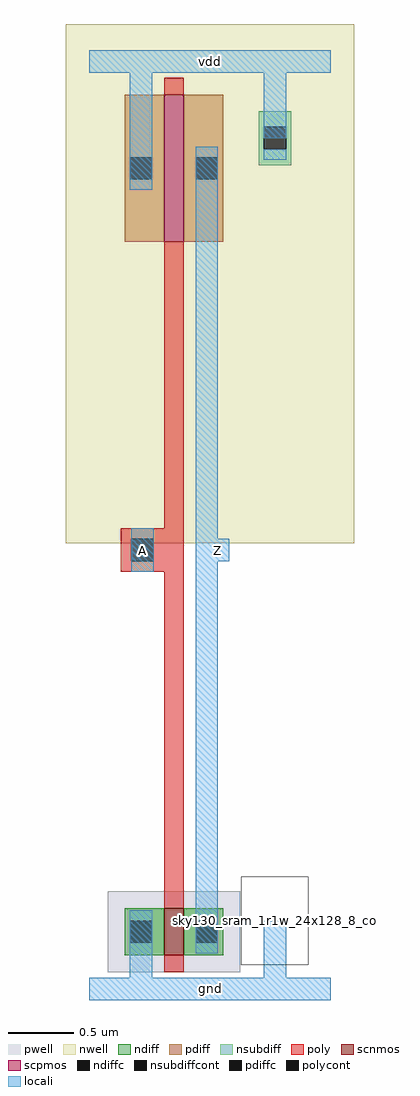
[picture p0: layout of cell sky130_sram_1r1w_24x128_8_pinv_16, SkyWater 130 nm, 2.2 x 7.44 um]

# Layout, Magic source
magic
tech sky130B
magscale 1 2
<< nwell >>
rect -36 679 404 1471
<< poly >>
rect 114 702 144 1113
rect 81 636 144 702
rect 114 149 144 636
<< locali >>
rect 0 1397 368 1431
rect 62 1218 96 1397
rect 266 1297 300 1397
rect 64 636 98 702
rect 162 686 196 1284
rect 162 652 213 686
rect 162 54 196 652
rect 62 17 96 54
rect 266 17 300 104
rect 0 -17 368 17
use sky130_sram_1r1w_24x128_8_contact_15  sky130_sram_1r1w_24x128_8_contact_15_0
transform 1 0 48 0 1 636
box 0 0 66 66
use sky130_sram_1r1w_24x128_8_contact_28  sky130_sram_1r1w_24x128_8_contact_28_0
transform 1 0 258 0 1 1256
box -59 -43 109 125
use sky130_sram_1r1w_24x128_8_contact_29  sky130_sram_1r1w_24x128_8_contact_29_0
transform 1 0 258 0 1 63
box -26 -26 76 108
use sky130_sram_1r1w_24x128_8_nmos_m1_w0_360_sli_dli_da_p  sky130_sram_1r1w_24x128_8_nmos_m1_w0_360_sli_dli_da_p_0
transform 1 0 54 0 1 51
box -26 -26 176 98
use sky130_sram_1r1w_24x128_8_pmos_m1_w1_120_sli_dli_da_p  sky130_sram_1r1w_24x128_8_pmos_m1_w1_120_sli_dli_da_p_0
transform 1 0 54 0 1 1139
box -59 -54 209 278
<< labels >>
rlabel locali s 81 669 81 669 4 A
port 1 nsew
rlabel locali s 196 669 196 669 4 Z
port 2 nsew
rlabel locali s 184 0 184 0 4 gnd
port 3 nsew
rlabel locali s 184 1414 184 1414 4 vdd
port 4 nsew
<< properties >>
string FIXED_BBOX 0 0 368 1414
<< end >>

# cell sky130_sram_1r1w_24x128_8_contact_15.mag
magic
tech sky130B
<< poly >>
rect 0 25 33 33
rect 0 8 8 25
rect 25 8 33 25
rect 0 0 33 8
<< polycont >>
rect 8 8 25 25
<< locali >>
rect 8 25 25 33
rect 8 0 25 8
<< properties >>
string FIXED_BBOX -10 -10 43 43
<< end >>

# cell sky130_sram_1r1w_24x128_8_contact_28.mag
magic
tech sky130B
magscale 1 2
<< nwell >>
rect -59 -43 109 125
<< nsubdiff >>
rect 0 58 50 82
rect 0 24 8 58
rect 42 24 50 58
rect 0 0 50 24
<< nsubdiffcont >>
rect 8 24 42 58
<< locali >>
rect 8 58 42 74
rect 8 8 42 24
<< properties >>
string FIXED_BBOX -59 -43 109 125
<< end >>

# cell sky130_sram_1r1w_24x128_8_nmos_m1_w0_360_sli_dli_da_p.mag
magic
tech sky130B
magscale 1 2
<< pwell >>
rect -26 -26 176 98
<< scnmos >>
rect 60 0 90 72
<< ndiff >>
rect 0 0 60 72
rect 90 0 150 72
<< poly >>
rect 60 72 90 98
rect 60 -26 90 0
<< locali >>
rect 8 3 42 69
rect 108 3 142 69
use sky130_sram_1r1w_24x128_8_contact_10  sky130_sram_1r1w_24x128_8_contact_10_0
transform 1 0 100 0 1 3
box -26 -22 76 88
use sky130_sram_1r1w_24x128_8_contact_10  sky130_sram_1r1w_24x128_8_contact_10_1
transform 1 0 0 0 1 3
box -26 -22 76 88
<< labels >>
rlabel poly s 75 36 75 36 4 G
port 1 nsew
rlabel locali s 25 36 25 36 4 S
port 2 nsew
rlabel locali s 125 36 125 36 4 D
port 3 nsew
<< properties >>
string FIXED_BBOX -25 -26 175 98
<< end >>

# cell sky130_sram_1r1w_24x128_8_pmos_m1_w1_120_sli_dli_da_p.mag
magic
tech sky130B
magscale 1 2
<< nwell >>
rect -54 -54 204 278
<< scpmos >>
rect 60 0 90 224
<< pdiff >>
rect 0 0 60 224
rect 90 0 150 224
<< poly >>
rect 60 224 90 250
rect 60 -26 90 0
<< locali >>
rect 8 79 42 145
rect 108 79 142 145
use sky130_sram_1r1w_24x128_8_contact_11  sky130_sram_1r1w_24x128_8_contact_11_0
transform 1 0 100 0 1 79
box -59 -51 109 117
use sky130_sram_1r1w_24x128_8_contact_11  sky130_sram_1r1w_24x128_8_contact_11_1
transform 1 0 0 0 1 79
box -59 -51 109 117
<< labels >>
rlabel poly s 75 112 75 112 4 G
port 1 nsew
rlabel locali s 25 112 25 112 4 S
port 2 nsew
rlabel locali s 125 112 125 112 4 D
port 3 nsew
<< properties >>
string FIXED_BBOX -54 -54 204 278
<< end >>

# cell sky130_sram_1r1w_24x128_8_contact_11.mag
magic
tech sky130B
magscale 1 2
<< nwell >>
rect -59 -51 109 117
<< pdiff >>
rect 0 50 50 62
rect 0 16 8 50
rect 42 16 50 50
rect 0 4 50 16
<< pdiffc >>
rect 8 16 42 50
<< locali >>
rect 8 50 42 66
rect 8 0 42 16
<< properties >>
string FIXED_BBOX -59 -51 109 117
<< end >>

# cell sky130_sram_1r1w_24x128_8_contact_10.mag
magic
tech sky130B
<< pwell >>
rect -13 -11 38 44
<< ndiff >>
rect 0 25 25 31
rect 0 8 4 25
rect 21 8 25 25
rect 0 2 25 8
<< ndiffc >>
rect 4 8 21 25
<< locali >>
rect 4 25 21 33
rect 4 0 21 8
<< properties >>
string FIXED_BBOX -12 -10 37 43
<< end >>
